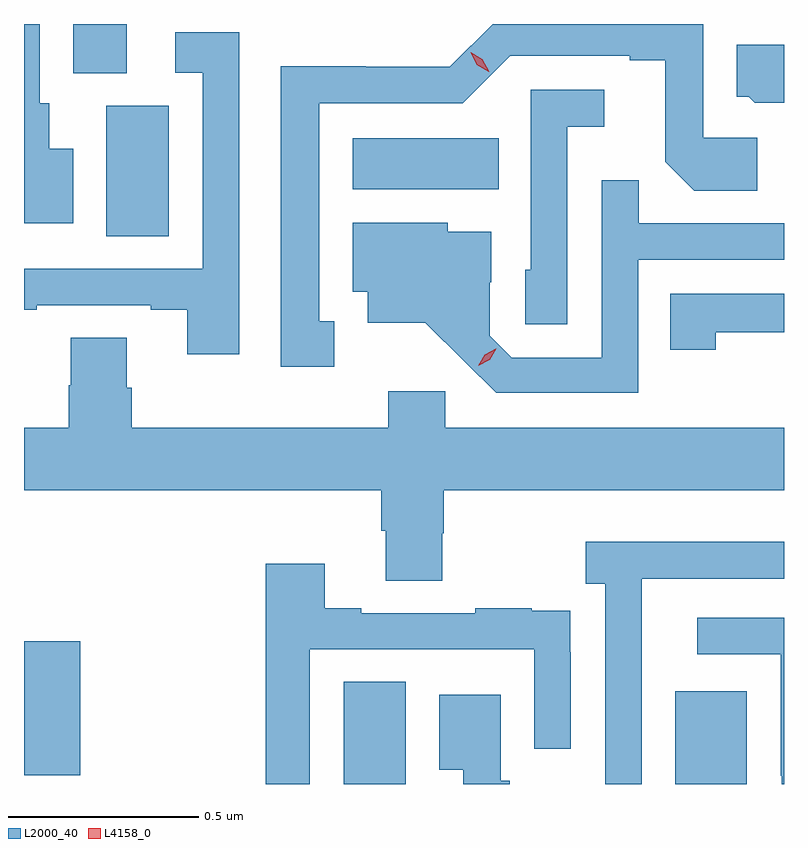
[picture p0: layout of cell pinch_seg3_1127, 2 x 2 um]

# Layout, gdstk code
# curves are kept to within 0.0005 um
import gdstk
lib = gdstk.Library(unit=1e-6, precision=1e-09)
def R(c, l, rs):  # rectangles x0, y0, x1, y1
    for r in rs: c.add(gdstk.rectangle(r[:2], r[2:], *l))
def P(c, l, *ps):  # polygons
    for p in ps: c.add(gdstk.Polygon(p, *l))
L2000_40 = (2000, 40)
L4158_0 = (4158, 0)

pinch_seg3_1127 = lib.new_cell('pinch_seg3_1127')
R(pinch_seg3_1127, L2000_40, [(325.382,716.127,325.546,716.396), (326.255,716.127,326.443,716.371), (324.541,716.15,324.689,716.503), (324.758,717.568,324.922,717.912), (325.406,717.692,325.79,717.826), (324.671,717.997,324.811,718.127)])
P(pinch_seg3_1127, L2000_40, [(324.67,717.799),(324.607,717.799),(324.607,717.918),(324.582,717.918),(324.582,718.127),(324.541,718.127),(324.541,717.603),(324.67,717.603)],
  [(325.357,717.345),(325.318,717.345),(325.318,717.918),(325.695,717.918),(325.821,718.044),(326.135,718.044),(326.135,718.032),(326.229,718.032),(326.229,717.764),(326.305,717.688),(326.47,717.688),(326.47,717.828),(326.328,717.828),(326.328,718.127),(325.775,718.127),(325.662,718.014),(325.44,718.014),(325.44,718.016),(325.217,718.016),(325.217,717.225),(325.357,717.225)],
  [(325.107,718.105),(324.939,718.105),(324.939,717.999),(325.011,717.999),(325.011,717.483),(324.541,717.483),(324.541,717.375),(324.575,717.375),(324.575,717.387),(324.875,717.387),(324.875,717.375),(324.971,717.375),(324.971,717.258),(325.107,717.258)],
  [(326.541,718.072),(326.417,718.072),(326.417,717.936),(326.448,717.936),(326.464,717.92),(326.541,717.92)],
  [(325.971,717.857),(326.068,717.857),(326.068,717.954),(325.875,717.954),(325.875,717.48),(325.86,717.48),(325.86,717.337),(325.971,717.337)],
  [(326.157,717.507),(326.541,717.507),(326.541,717.603),(326.159,717.603),(326.159,717.716),(326.061,717.716),(326.061,717.249),(325.824,717.249),(325.767,717.306),(325.767,717.448),(325.771,717.448),(325.771,717.58),(325.656,717.58),(325.656,717.604),(325.406,717.604),(325.406,717.422),(325.445,717.422),(325.445,717.341),(325.597,717.341),(325.784,717.156),(326.157,717.156)],
  [(326.361,717.316),(326.541,717.316),(326.541,717.417),(326.242,717.417),(326.242,717.27),(326.361,717.27)],
  [(325.641,716.787),(325.646,716.787),(325.646,716.9),(326.541,716.9),(326.541,717.064),(325.65,717.064),(325.65,717.16),(325.499,717.16),(325.499,717.064),(324.824,717.064),(324.824,717.17),(324.811,717.17),(324.811,717.302),(324.664,717.302),(324.664,717.177),(324.659,717.177),(324.659,717.064),(324.541,717.064),(324.541,716.9),(325.481,716.9),(325.481,716.794),(325.493,716.794),(325.493,716.662),(325.641,716.662)],
  [(326.166,716.467),(326.167,716.467),(326.167,716.667),(326.541,716.667),(326.541,716.764),(326.019,716.764),(326.019,716.654),(326.07,716.654),(326.07,716.127),(326.166,716.127)],
  [(325.293,716.481),(325.884,716.481),(325.884,716.22),(325.98,716.22),(325.98,716.474),(325.979,716.474),(325.979,716.583),(325.877,716.583),(325.877,716.59),(325.729,716.59),(325.729,716.577),(325.429,716.577),(325.429,716.59),(325.333,716.59),(325.333,716.707),(325.177,716.707),(325.177,716.127),(325.293,716.127)],
  [(326.541,716.565),(326.313,716.565),(326.313,716.469),(326.532,716.469),(326.532,716.149),(326.535,716.149),(326.535,716.127),(326.541,716.127)],
  [(325.819,716.136),(325.795,716.136),(325.795,716.362),(325.634,716.362),(325.634,716.165),(325.697,716.165),(325.697,716.127),(325.819,716.127)])
P(pinch_seg3_1127, L4158_0, [(325.736,717.228),(325.736,717.228),(325.753,717.257),(325.783,717.272),(325.784,717.272),(325.784,717.272),(325.767,717.243),(325.736,717.228)],
  [(325.764,718.001),(325.733,718.02),(325.716,718.053),(325.716,718.053),(325.716,718.053),(325.747,718.034),(325.765,718.001),(325.765,718.001)])

lib.write_gds('pinch_seg3_1127.gds')
